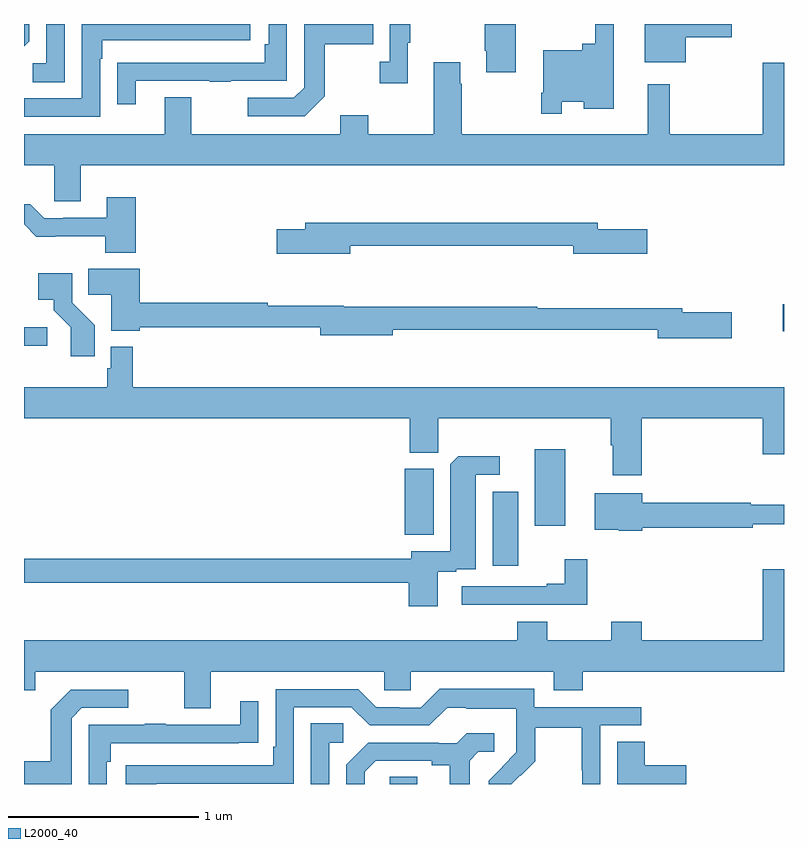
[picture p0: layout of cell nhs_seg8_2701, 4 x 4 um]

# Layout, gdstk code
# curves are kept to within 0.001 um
import gdstk
lib = gdstk.Library(unit=1e-6, precision=1e-09)
def R(c, l, rs):  # rectangles x0, y0, x1, y1
    for r in rs: c.add(gdstk.rectangle(r[:2], r[2:], *l))
def P(c, l, *ps):  # polygons
    for p in ps: c.add(gdstk.Polygon(p, *l))
L2000_40 = (2000, 40)

nhs_seg8_2701 = lib.new_cell('nhs_seg8_2701')
R(nhs_seg8_2701, L2000_40, [(282.924,1123.9,283.069,1123.937), (283.466,1125.05,283.6,1125.439), (283.004,1125.211,283.156,1125.558), (283.688,1125.258,283.849,1125.661), (281,1126.207,281.122,1126.305), (284.994,1126.282,285,1126.424)])
P(nhs_seg8_2701, L2000_40, [(283.021,1127.801),(283.033,1127.801),(283.033,1127.9),(282.924,1127.9),(282.924,1127.702),(282.873,1127.702),(282.873,1127.589),(283.021,1127.589)],
  [(281.214,1127.9),(281.118,1127.9),(281.118,1127.694),(281.046,1127.694),(281.046,1127.593),(281.214,1127.593)],
  [(283.588,1127.9),(283.426,1127.9),(283.426,1127.758),(283.433,1127.758),(283.433,1127.646),(283.588,1127.646)],
  [(284.482,1127.831),(284.725,1127.831),(284.725,1127.9),(284.267,1127.9),(284.267,1127.699),(284.482,1127.699)],
  [(281.4,1127.717),(281.413,1127.717),(281.413,1127.814),(282.19,1127.814),(282.19,1127.9),(281.304,1127.9),(281.304,1127.508),(281.001,1127.508),(281,1127.509),(281,1127.412),(281.4,1127.412)],
  [(281.028,1127.81),(281.028,1127.9),(281,1127.9),(281,1127.782)],
  [(282.583,1127.521),(282.583,1127.794),(282.839,1127.794),(282.839,1127.9),(282.474,1127.9),(282.474,1127.565),(282.42,1127.511),(282.177,1127.511),(282.177,1127.415),(282.477,1127.415)],
  [(281.587,1127.601),(281.977,1127.601),(281.977,1127.596),(282.089,1127.596),(282.089,1127.601),(282.384,1127.601),(282.384,1127.9),(282.288,1127.9),(282.288,1127.794),(282.268,1127.794),(282.268,1127.697),(281.593,1127.697),(281.593,1127.696),(281.491,1127.696),(281.491,1127.478),(281.587,1127.478)],
  [(283.83,1127.492),(283.946,1127.492),(283.946,1127.453),(284.104,1127.453),(284.104,1127.9),(284.007,1127.9),(284.007,1127.797),(283.939,1127.797),(283.939,1127.761),(283.734,1127.761),(283.734,1127.539),(283.722,1127.539),(283.722,1127.427),(283.83,1127.427)],
  [(281.299,1127.156),(285,1127.156),(285,1127.695),(284.888,1127.695),(284.888,1127.32),(284.399,1127.32),(284.399,1127.584),(284.282,1127.584),(284.282,1127.32),(283.305,1127.32),(283.305,1127.585),(283.297,1127.585),(283.297,1127.698),(283.157,1127.698),(283.157,1127.32),(282.813,1127.32),(282.813,1127.419),(282.665,1127.419),(282.665,1127.32),(281.881,1127.32),(281.881,1127.515),(281.741,1127.515),(281.741,1127.32),(281,1127.32),(281,1127.156),(281.16,1127.156),(281.16,1126.966),(281.299,1126.966)],
  [(281.588,1126.987),(281.435,1126.987),(281.435,1126.881),(281.206,1126.881),(281.206,1126.878),(281.106,1126.878),(281.033,1126.951),(281,1126.951),(281,1126.846),(281.065,1126.781),(281.428,1126.782),(281.428,1126.697),(281.588,1126.697)],
  [(282.718,1126.734),(283.892,1126.734),(283.892,1126.691),(284.281,1126.691),(284.281,1126.821),(284.02,1126.821),(284.02,1126.855),(282.479,1126.855),(282.479,1126.821),(282.33,1126.821),(282.33,1126.691),(282.718,1126.691)],
  [(284.725,1126.382),(284.464,1126.382),(284.464,1126.403),(283.701,1126.403),(283.701,1126.411),(282.684,1126.411),(282.684,1126.418),(282.284,1126.418),(282.284,1126.433),(281.609,1126.433),(281.609,1126.612),(281.338,1126.612),(281.338,1126.474),(281.459,1126.474),(281.459,1126.286),(281.609,1126.286),(281.609,1126.305),(282.56,1126.305),(282.56,1126.262),(282.94,1126.262),(282.94,1126.29),(284.336,1126.29),(284.336,1126.247),(284.725,1126.247)],
  [(281.372,1126.314),(281.253,1126.433),(281.253,1126.588),(281.076,1126.588),(281.076,1126.448),(281.156,1126.448),(281.156,1126.393),(281.247,1126.303),(281.247,1126.152),(281.372,1126.152)],
  [(284.252,1125.824),(284.888,1125.824),(284.888,1125.636),(285,1125.636),(285,1125.988),(281.573,1125.988),(281.573,1126.201),(281.457,1126.201),(281.457,1126.089),(281.437,1126.089),(281.437,1125.988),(281,1125.988),(281,1125.824),(283.031,1125.824),(283.031,1125.643),(283.181,1125.643),(283.181,1125.824),(284.087,1125.824),(284.087,1125.683),(284.099,1125.683),(284.099,1125.525),(284.252,1125.525)],
  [(283.177,1125.018),(283.274,1125.018),(283.274,1125.03),(283.378,1125.03),(283.378,1125.528),(283.504,1125.528),(283.504,1125.626),(283.285,1125.626),(283.244,1125.584),(283.244,1125.126),(283.037,1125.126),(283.037,1125.086),(281,1125.086),(281,1124.958),(283.025,1124.958),(283.025,1124.835),(283.177,1124.835)],
  [(284.254,1125.25),(284.836,1125.25),(284.836,1125.268),(285,1125.268),(285,1125.371),(284.826,1125.371),(284.826,1125.379),(284.254,1125.379),(284.254,1125.43),(284.003,1125.43),(284.003,1125.239),(284.129,1125.239),(284.129,1125.232),(284.254,1125.232)],
  [(283.964,1125.082),(283.846,1125.082),(283.846,1124.953),(283.751,1124.953),(283.751,1124.94),(283.305,1124.94),(283.305,1124.844),(283.964,1124.844)],
  [(281.983,1124.492),(282.897,1124.492),(282.897,1124.394),(283.035,1124.394),(283.035,1124.492),(283.787,1124.492),(283.787,1124.393),(283.94,1124.393),(283.94,1124.492),(285,1124.492),(285,1125.031),(284.888,1125.031),(284.888,1124.656),(284.252,1124.656),(284.252,1124.755),(284.092,1124.755),(284.092,1124.656),(283.755,1124.656),(283.755,1124.755),(283.595,1124.755),(283.595,1124.656),(281,1124.656),(281,1124.393),(281.059,1124.393),(281.059,1124.492),(281.843,1124.492),(281.843,1124.298),(281.983,1124.298)],
  [(281.696,1123.902),(282.42,1123.902),(282.42,1124.304),(282.723,1124.304),(282.819,1124.208),(283.134,1124.208),(283.227,1124.301),(283.327,1124.301),(283.327,1124.297),(283.59,1124.297),(283.59,1124.163),(283.592,1124.163),(283.592,1124.066),(283.446,1123.918),(283.446,1123.9),(283.564,1123.9),(283.611,1123.947),(283.614,1123.944),(283.691,1124.021),(283.691,1124.196),(283.936,1124.196),(283.936,1123.972),(283.938,1123.972),(283.938,1123.9),(284.034,1123.9),(284.034,1124.208),(284.248,1124.208),(284.248,1124.304),(283.686,1124.304),(283.686,1124.401),(283.189,1124.401),(283.089,1124.301),(282.974,1124.301),(282.974,1124.304),(282.855,1124.304),(282.759,1124.4),(282.324,1124.4),(282.324,1124.095),(282.311,1124.095),(282.311,1123.998),(281.535,1123.998),(281.535,1123.9),(281.696,1123.9)],
  [(281.25,1124.247),(281.304,1124.301),(281.548,1124.301),(281.548,1124.397),(281.247,1124.397),(281.142,1124.291),(281.142,1124.019),(281,1124.019),(281,1123.9),(281.25,1123.9)],
  [(281.436,1124.018),(281.456,1124.018),(281.456,1124.115),(282.131,1124.115),(282.131,1124.116),(282.233,1124.116),(282.233,1124.335),(282.137,1124.335),(282.137,1124.211),(281.747,1124.211),(281.747,1124.216),(281.635,1124.216),(281.635,1124.211),(281.34,1124.211),(281.34,1123.9),(281.436,1123.9)],
  [(282.606,1124.118),(282.679,1124.118),(282.679,1124.219),(282.51,1124.219),(282.51,1123.9),(282.606,1123.9)],
  [(282.793,1123.965),(282.85,1124.022),(283.145,1124.022),(283.145,1124),(283.241,1124),(283.241,1123.9),(283.345,1123.9),(283.345,1124.023),(283.392,1124.07),(283.474,1124.07),(283.474,1124.167),(283.33,1124.167),(283.278,1124.115),(283.184,1124.115),(283.184,1124.118),(282.812,1124.118),(282.696,1124.002),(282.696,1123.9),(282.793,1123.9)],
  [(284.485,1124),(284.267,1124),(284.267,1124.123),(284.123,1124.123),(284.123,1123.9),(284.485,1123.9)])

lib.write_gds('nhs_seg8_2701.gds')
